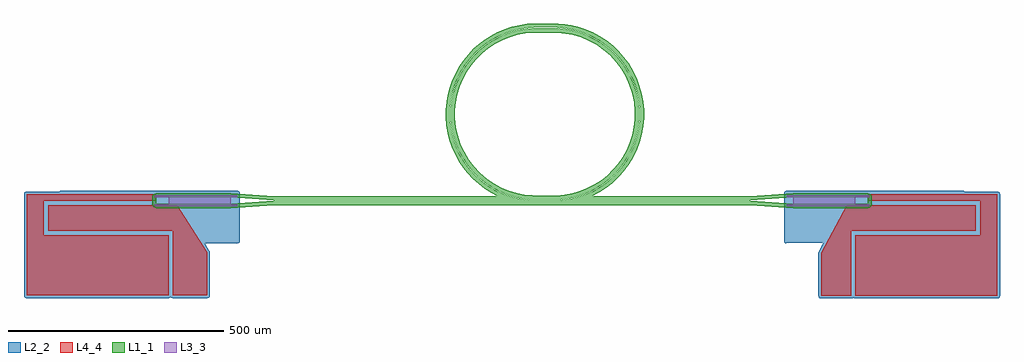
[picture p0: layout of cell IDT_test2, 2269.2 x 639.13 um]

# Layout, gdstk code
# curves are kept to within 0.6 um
import gdstk
lib = gdstk.Library(unit=1e-6, precision=1e-09)
def P(c, l, *ps):  # polygons
    for p in ps: c.add(gdstk.Polygon(p, *l))
L1_1 = (1, 1)
L2_2 = (2, 2)
L3_3 = (3, 3)
L4_4 = (4, 4)

idt_test2 = lib.new_cell('IDT_test2')
P(idt_test2, L1_1, [(-1552.58,-12.702),(-1557.944,-10.48),(-1561.169,-5.653),(-1561.552,13.23),(-1558.671,19.321),(-1555.427,21.489),(-1551.6,22.25),(-1378.8,22.25),(-1278.455,15.35),(-757.755,15.35),(-773.001,23.263),(-788.415,32.993),(-802.834,43.94),(-816.349,56.172),(-828.755,69.527),(-838.509,81.891),(-848.544,96.96),(-857.302,112.946),(-864.645,129.629),(-870.518,146.885),(-874.374,162.154),(-877.399,180.13),(-878.857,198.299),(-878.745,216.403),(-877.062,234.553),(-874.349,250.066),(-869.771,267.71),(-863.731,284.777),(-857.302,299.154),(-848.544,315.14),(-838.436,330.308),(-827.135,344.453),(-814.573,357.661),(-802.834,368.16),(-788.415,379.107),(-773.001,388.837),(-759.049,396.142),(-742.272,403.269),(-725,408.899),(-725,398.498),(-741.137,392.998),(-757.03,386.008),(-770.129,378.942),(-784.698,369.498),(-796.497,360.425),(-809.366,348.77),(-821.179,336.046),(-831.848,322.348),(-841.292,307.779),(-848.358,294.68),(-859.486,267.094),(-864.049,250.342),(-866.795,235.714),(-869,206.05),(-866.795,176.386),(-864.049,161.758),(-859.486,145.006),(-848.358,117.42),(-841.292,104.321),(-831.848,89.752),(-812.853,66.86),(-792.639,48.554),(-776.473,37.051),(-761.454,28.339),(-743.444,20.016),(-725,13.602),(-725,5.35),(-1278.8,5.35),(-1378.8,12.25),(-1551.6,12.25),(-1551.6,-2.75),(-1378.8,-2.75),(-1278.8,4.15),(-725,4.15),(-725,-5.85),(-1278.455,-5.85),(-1378.8,-12.75)],
  [(-707.309,413.024),(-689.266,415.614),(-671.067,416.633),(-618.047,416.395),(-602.48,415.049),(-571.739,408.885),(-554.412,403.225),(-537.639,396.089),(-521.547,387.529),(-506.254,377.609),(-489.997,364.785),(-476.789,352.223),(-464.64,338.469),(-453.803,323.813),(-443.082,306.098),(-435.125,289.698),(-428.577,272.555),(-423.012,252.61),(-419.755,234.676),(-418.061,216.527),(-417.947,198.176),(-419.738,177.547),(-423.012,159.49),(-427.807,141.904),(-435.076,122.515),(-443.023,106.111),(-452.427,90.352),(-464.64,73.631),(-476.789,59.877),(-491.877,45.695),(-506.254,34.491),(-521.653,24.508),(-539.045,15.35),(-171.545,15.35),(-71.2,22.25),(101.6,22.25),(105.427,21.489),(108.671,19.321),(110.839,16.077),(111.6,12.25),(111.6,-2.75),(110.839,-6.577),(107.156,-11.065),(101.6,-12.75),(-71.2,-12.75),(-171.545,-5.85),(-725,-5.85),(-725,4.15),(-171.2,4.15),(-71.2,-2.75),(101.6,-2.75),(101.6,12.25),(-71.2,12.25),(-171.2,5.35),(-725,5.35),(-725,13.602),(-702.962,8.45),(-678.32,5.695),(-623.438,5.511),(-598.736,7.655),(-579.282,11.556),(-557.981,18.216),(-539.77,26.092),(-520.327,37.051),(-500.303,51.675),(-483.947,66.86),(-467.879,85.745),(-454.263,106.467),(-443.308,128.711),(-435.862,149.751),(-430.8,171.488),(-428.045,196.13),(-428.183,218.448),(-431.242,243.054),(-437.314,267.094),(-446.304,290.202),(-458.077,312.024),(-472.452,332.227),(-489.21,350.503),(-506.118,365.071),(-528.817,380.187),(-551.061,391.142),(-574.487,399.269),(-598.736,404.445),(-623.438,406.589),(-678.32,406.405),(-702.962,403.65),(-725,398.498),(-725,408.899)],
  [(-867.739,201.118),(-867.053,223.292),(-864.378,242.832),(-859.786,262.012),(-852.385,282.926),(-842.706,302.889),(-832.287,319.634),(-818.655,337.137),(-804.971,351.339),(-787.986,365.611),(-771.638,376.644),(-754.281,386.008),(-733.759,394.434),(-712.427,400.529),(-693,403.927),(-675.797,405.313),(-648.401,405.45),(-648.401,395.271),(-675.426,395.319),(-694.089,393.7),(-712.501,390.244),(-730.481,384.986),(-747.854,377.979),(-764.449,369.289),(-780.105,359.002),(-794.668,347.219),(-807.996,334.055),(-819.959,319.638),(-830.438,304.111),(-839.333,287.624),(-846.555,270.339),(-852.034,252.425),(-855.717,234.058),(-857.568,215.417),(-857.568,196.683),(-855.357,175.727),(-851.447,157.407),(-844.91,137.374),(-836.189,118.191),(-825.39,100.096),(-812.649,83.312),(-799.818,69.663),(-783.854,55.908),(-768.457,45.237),(-749.974,35.117),(-732.689,27.895),(-712.501,21.856),(-696.408,18.733),(-677.767,16.882),(-648.401,16.829),(-648.401,6.65),(-675.797,6.787),(-693,8.173),(-712.427,11.571),(-731.424,16.872),(-749.804,24.023),(-769.52,34.192),(-786.003,45.022),(-801.335,57.428),(-815.367,71.287),(-827.961,86.464),(-840.258,104.93),(-849.406,122.401),(-857.578,143.026),(-862.879,162.023),(-866.277,181.45)],
  [(-628.4,405.45),(-608.702,404.475),(-589.197,401.558),(-570.075,396.729),(-549.254,389.07),(-531.561,380.356),(-512.798,368.52),(-497.313,356.305),(-483.111,342.621),(-470.331,327.6),(-459.096,311.39),(-449.518,294.15),(-441.69,276.048),(-435.688,257.261),(-431.192,235.537),(-429.244,215.911),(-429.244,196.189),(-431.192,176.563),(-435.07,157.226),(-440.839,138.366),(-448.442,120.169),(-457.806,102.812),(-468.839,86.464),(-483.111,69.479),(-497.313,55.795),(-512.798,43.58),(-531.561,31.744),(-549.254,23.03),(-567.721,16.107),(-586.782,11.042),(-606.249,7.884),(-623.468,6.711),(-648.401,6.65),(-648.401,16.829),(-621.374,16.781),(-602.711,18.4),(-584.299,21.856),(-568.537,26.359),(-551.079,33.152),(-534.377,41.636),(-518.595,51.728),(-503.887,63.33),(-490.398,76.329),(-478.258,90.596),(-467.587,105.993),(-458.489,122.368),(-451.054,139.562),(-445.353,157.407),(-441.443,175.727),(-439.362,194.345),(-439.131,213.076),(-441.083,234.058),(-445.353,254.693),(-451.89,274.726),(-460.611,293.909),(-471.41,312.004),(-482.644,326.994),(-496.982,342.437),(-512.946,356.192),(-528.343,366.863),(-546.826,376.983),(-564.111,384.205),(-584.299,390.244),(-600.392,393.367),(-619.033,395.218),(-648.401,395.271),(-648.401,405.45)])
P(idt_test2, L2_2, [(68.6,-219.815),(66.428,-221.792),(63.6,-222.5),(-6.4,-222.5),(-9.228,-221.792),(-11.389,-219.833),(-12.4,-216.5),(-12.371,-115.906),(-1.329,-94.5),(-86.4,-94.5),(-89.228,-93.792),(-91.389,-91.833),(-92.4,-88.5),(-92.4,21.5),(-91.692,24.328),(-89.733,26.489),(-86.4,27.5),(323.6,27.5),(328.063,25.5),(404.188,25.471),(408.589,22.833),(409.6,19.5),(409.6,-216.5),(408.892,-219.328),(406.933,-221.489),(403.6,-222.5),(73.6,-222.5),(70.772,-221.792)],
  [(-1778.063,25.5),(-1773.6,27.5),(-1361.858,27.242),(-1358.611,24.833),(-1357.6,21.5),(-1357.858,-90.242),(-1359.794,-93.138),(-1363.012,-94.471),(-1439.852,-94.5),(-1427.627,-114.934),(-1427.6,-215.5),(-1428.611,-218.833),(-1431.858,-221.242),(-1513.6,-221.5),(-1516.428,-220.792),(-1518.6,-218.815),(-1520.772,-220.792),(-1523.6,-221.5),(-1855.342,-221.242),(-1858.589,-218.833),(-1859.6,-215.5),(-1859.342,21.242),(-1857.406,24.138),(-1854.188,25.471)])
P(idt_test2, L3_3, [(-1498.6,-3),(-1498.6,11.75),(-1498.155,11.75),(-1498.155,-3),(-1496.8,-3),(-1496.8,11.75),(-1496.355,11.75),(-1496.355,-3),(-1495,-3),(-1495,11.75),(-1494.555,11.75),(-1494.555,-3),(-1493.2,-3),(-1493.2,11.75),(-1492.755,11.75),(-1492.755,-3),(-1491.4,-3),(-1491.4,11.75),(-1490.955,11.75),(-1490.955,-3),(-1489.6,-3),(-1489.6,11.75),(-1489.155,11.75),(-1489.155,-3),(-1487.8,-3),(-1487.8,11.75),(-1487.355,11.75),(-1487.355,-3),(-1486,-3),(-1486,11.75),(-1485.555,11.75),(-1485.555,-3),(-1484.2,-3),(-1484.2,11.75),(-1483.755,11.75),(-1483.755,-3),(-1482.4,-3),(-1482.4,11.75),(-1481.955,11.75),(-1481.955,-3),(-1480.6,-3),(-1480.6,11.75),(-1480.155,11.75),(-1480.155,-3),(-1478.8,-3),(-1478.8,11.75),(-1478.355,11.75),(-1478.355,-3),(-1477,-3),(-1477,11.75),(-1476.555,11.75),(-1476.555,-3),(-1475.2,-3),(-1475.2,11.75),(-1474.755,11.75),(-1474.755,-3),(-1473.4,-3),(-1473.4,11.75),(-1472.955,11.75),(-1472.955,-3),(-1471.6,-3),(-1471.6,11.75),(-1471.155,11.75),(-1471.155,-3),(-1469.8,-3),(-1469.8,11.75),(-1469.355,11.75),(-1469.355,-3),(-1468,-3),(-1468,11.75),(-1467.555,11.75),(-1467.555,-3),(-1466.2,-3),(-1466.2,11.75),(-1465.755,11.75),(-1465.755,-3),(-1464.4,-3),(-1464.4,11.75),(-1463.955,11.75),(-1463.955,-3),(-1462.6,-3),(-1462.6,11.75),(-1462.155,11.75),(-1462.155,-3),(-1460.8,-3),(-1460.8,11.75),(-1460.355,11.75),(-1460.355,-3),(-1459,-3),(-1459,11.75),(-1458.555,11.75),(-1458.555,-3),(-1457.2,-3),(-1457.2,11.75),(-1456.755,11.75),(-1456.755,-3),(-1455.4,-3),(-1455.4,11.75),(-1454.955,11.75),(-1454.955,-3),(-1453.6,-3),(-1453.6,11.75),(-1453.155,11.75),(-1453.155,-3),(-1451.8,-3),(-1451.8,11.75),(-1451.355,11.75),(-1451.355,-3),(-1450,-3),(-1450,11.75),(-1449.555,11.75),(-1449.555,-3),(-1448.2,-3),(-1448.2,11.75),(-1447.755,11.75),(-1447.755,-3),(-1446.4,-3),(-1446.4,11.75),(-1445.955,11.75),(-1445.955,-3),(-1444.6,-3),(-1444.6,11.75),(-1444.155,11.75),(-1444.155,-3),(-1442.8,-3),(-1442.8,11.75),(-1442.355,11.75),(-1442.355,-3),(-1441,-3),(-1441,11.75),(-1440.555,11.75),(-1440.555,-3),(-1439.2,-3),(-1439.2,11.75),(-1438.755,11.75),(-1438.755,-3),(-1437.4,-3),(-1437.4,11.75),(-1436.955,11.75),(-1436.955,-3),(-1435.6,-3),(-1435.6,11.75),(-1435.155,11.75),(-1435.155,-3),(-1433.8,-3),(-1433.8,11.75),(-1433.355,11.75),(-1433.355,-3),(-1432,-3),(-1432,11.75),(-1431.555,11.75),(-1431.555,-3),(-1430.2,-3),(-1430.2,11.75),(-1429.755,11.75),(-1429.755,-3),(-1428.4,-3),(-1428.4,11.75),(-1427.955,11.75),(-1427.955,-3),(-1426.6,-3),(-1426.6,11.75),(-1426.155,11.75),(-1426.155,-3),(-1424.8,-3),(-1424.8,11.75),(-1424.355,11.75),(-1424.355,-3),(-1423,-3),(-1423,11.75),(-1422.555,11.75),(-1422.555,-3),(-1421.2,-3),(-1421.2,11.75),(-1420.755,11.75),(-1420.755,-3),(-1419.4,-3),(-1419.4,11.75),(-1418.955,11.75),(-1418.955,-3),(-1417.6,-3),(-1417.6,11.75),(-1417.155,11.75),(-1417.155,-3),(-1415.8,-3),(-1415.8,11.75),(-1415.355,11.75),(-1415.355,-3),(-1414,-3),(-1414,11.75),(-1413.555,11.75),(-1413.555,-3),(-1412.2,-3),(-1412.2,11.75),(-1411.755,11.75),(-1411.755,-3),(-1410.4,-3),(-1410.4,11.75),(-1409.955,11.75),(-1409.955,-3),(-1408.6,-3),(-1408.6,11.75),(-1408.155,11.75),(-1408.155,-3),(-1406.8,-3),(-1406.8,11.75),(-1406.355,11.75),(-1406.355,-3),(-1405,-3),(-1405,11.75),(-1404.555,11.75),(-1404.555,-3),(-1403.2,-3),(-1403.2,11.75),(-1402.755,11.75),(-1402.755,-3),(-1401.4,-3),(-1401.4,11.75),(-1400.955,11.75),(-1400.955,-3),(-1399.6,-3),(-1399.6,11.75),(-1399.155,11.75),(-1399.155,-3),(-1397.8,-3),(-1397.8,11.75),(-1397.355,11.75),(-1397.355,-3),(-1396,-3),(-1396,11.75),(-1395.555,11.75),(-1395.555,-3),(-1394.2,-3),(-1394.2,11.75),(-1393.755,11.75),(-1393.755,-3),(-1392.4,-3),(-1392.4,11.75),(-1391.955,11.75),(-1391.955,-3),(-1390.6,-3),(-1390.6,11.75),(-1390.155,11.75),(-1390.155,-3),(-1388.8,-3),(-1388.8,11.75),(-1388.355,11.75),(-1388.355,-3),(-1387,-3),(-1387,11.75),(-1386.555,11.75),(-1386.555,-3),(-1385.2,-3),(-1385.2,11.75),(-1384.755,11.75),(-1384.755,-3),(-1383.4,-3),(-1383.4,11.75),(-1382.955,11.75),(-1382.955,-3),(-1381.6,-3),(-1381.6,11.75),(-1381.155,11.75),(-1381.155,-3),(-1379.8,-3),(-1379.8,11.75),(-1379.355,11.75),(-1379.355,-3),(-1363.6,-3),(-1363.6,-8),(-1555.6,-8),(-1555.6,-3),(-1522,-3),(-1522,11.75),(-1521.555,11.75),(-1521.555,-3),(-1520.2,-3),(-1520.2,11.75),(-1519.755,11.75),(-1519.755,-3),(-1518.4,-3),(-1518.4,11.75),(-1517.955,11.75),(-1517.955,-3),(-1516.6,-3),(-1516.6,11.75),(-1516.155,11.75),(-1516.155,-3),(-1514.8,-3),(-1514.8,11.75),(-1514.355,11.75),(-1514.355,-3),(-1513,-3),(-1513,11.75),(-1512.555,11.75),(-1512.555,-3),(-1511.2,-3),(-1511.2,11.75),(-1510.755,11.75),(-1510.755,-3),(-1509.4,-3),(-1509.4,11.75),(-1508.955,11.75),(-1508.955,-3),(-1507.6,-3),(-1507.6,11.75),(-1507.155,11.75),(-1507.155,-3),(-1505.8,-3),(-1505.8,11.75),(-1505.355,11.75),(-1505.355,-3),(-1504,-3),(-1504,11.75),(-1503.555,11.75),(-1503.555,-3),(-1502.2,-3),(-1502.2,11.75),(-1501.755,11.75),(-1501.755,-3),(-1500.4,-3),(-1500.4,11.75),(-1499.955,11.75),(-1499.955,-3),(-1498.6,-3)],
  [(-68.845,11.75),(-68.4,11.75),(-68.4,-3),(-67.045,-3),(-67.045,11.75),(-66.6,11.75),(-66.6,-3),(-65.245,-3),(-65.245,11.75),(-64.8,11.75),(-64.8,-3),(-63.445,-3),(-63.445,11.75),(-63,11.75),(-63,-3),(-61.645,-3),(-61.645,11.75),(-61.2,11.75),(-61.2,-3),(-59.845,-3),(-59.845,11.75),(-59.4,11.75),(-59.4,-3),(-58.045,-3),(-58.045,11.75),(-57.6,11.75),(-57.6,-3),(-56.245,-3),(-56.245,11.75),(-55.8,11.75),(-55.8,-3),(-54.445,-3),(-54.445,11.75),(-54,11.75),(-54,-3),(-52.645,-3),(-52.645,11.75),(-52.2,11.75),(-52.2,-3),(-50.845,-3),(-50.845,11.75),(-50.4,11.75),(-50.4,-3),(-49.045,-3),(-49.045,11.75),(-48.6,11.75),(-48.6,-3),(-47.245,-3),(-47.245,11.75),(-46.8,11.75),(-46.8,-3),(-45.445,-3),(-45.445,11.75),(-45,11.75),(-45,-3),(-43.645,-3),(-43.645,11.75),(-43.2,11.75),(-43.2,-3),(-41.845,-3),(-41.845,11.75),(-41.4,11.75),(-41.4,-3),(-40.045,-3),(-40.045,11.75),(-39.6,11.75),(-39.6,-3),(-38.245,-3),(-38.245,11.75),(-37.8,11.75),(-37.8,-3),(-36.445,-3),(-36.445,11.75),(-36,11.75),(-36,-3),(-34.645,-3),(-34.645,11.75),(-34.2,11.75),(-34.2,-3),(-32.845,-3),(-32.845,11.75),(-32.4,11.75),(-32.4,-3),(-31.045,-3),(-31.045,11.75),(-30.6,11.75),(-30.6,-3),(-29.245,-3),(-29.245,11.75),(-28.8,11.75),(-28.8,-3),(-27.445,-3),(-27.445,11.75),(-27,11.75),(-27,-3),(-25.645,-3),(-25.645,11.75),(-25.2,11.75),(-25.2,-3),(-23.845,-3),(-23.845,11.75),(-23.4,11.75),(-23.4,-3),(-22.045,-3),(-22.045,11.75),(-21.6,11.75),(-21.6,-3),(-20.245,-3),(-20.245,11.75),(-19.8,11.75),(-19.8,-3),(-18.445,-3),(-18.445,11.75),(-18,11.75),(-18,-3),(-16.645,-3),(-16.645,11.75),(-16.2,11.75),(-16.2,-3),(-14.845,-3),(-14.845,11.75),(-14.4,11.75),(-14.4,-3),(-13.045,-3),(-13.045,11.75),(-12.6,11.75),(-12.6,-3),(-11.245,-3),(-11.245,11.75),(-10.8,11.75),(-10.8,-3),(-9.445,-3),(-9.445,11.75),(-9,11.75),(-9,-3),(-7.645,-3),(-7.645,11.75),(-7.2,11.75),(-7.2,-3),(-5.845,-3),(-5.845,11.75),(-5.4,11.75),(-5.4,-3),(-4.045,-3),(-4.045,11.75),(-3.6,11.75),(-3.6,-3),(-2.245,-3),(-2.245,11.75),(-1.8,11.75),(-1.8,-3),(-0.445,-3),(-0.445,11.75),(0,11.75),(0,-3),(1.355,-3),(1.355,11.75),(1.8,11.75),(1.8,-3),(3.155,-3),(3.155,11.75),(3.6,11.75),(3.6,-3),(4.955,-3),(4.955,11.75),(5.4,11.75),(5.4,-3),(6.755,-3),(6.755,11.75),(7.2,11.75),(7.2,-3),(8.555,-3),(8.555,11.75),(9,11.75),(9,-3),(10.355,-3),(10.355,11.75),(10.8,11.75),(10.8,-3),(12.155,-3),(12.155,11.75),(12.6,11.75),(12.6,-3),(13.955,-3),(13.955,11.75),(14.4,11.75),(14.4,-3),(15.755,-3),(15.755,11.75),(16.2,11.75),(16.2,-3),(17.555,-3),(17.555,11.75),(18,11.75),(18,-3),(19.355,-3),(19.355,11.75),(19.8,11.75),(19.8,-3),(21.155,-3),(21.155,11.75),(21.6,11.75),(21.6,-3),(22.955,-3),(22.955,11.75),(23.4,11.75),(23.4,-3),(24.755,-3),(24.755,11.75),(25.2,11.75),(25.2,-3),(26.555,-3),(26.555,11.75),(27,11.75),(27,-3),(28.355,-3),(28.355,11.75),(28.8,11.75),(28.8,-3),(30.155,-3),(30.155,11.75),(30.6,11.75),(30.6,-3),(31.955,-3),(31.955,11.75),(32.4,11.75),(32.4,-3),(33.755,-3),(33.755,11.75),(34.2,11.75),(34.2,-3),(35.555,-3),(35.555,11.75),(36,11.75),(36,-3),(37.355,-3),(37.355,11.75),(37.8,11.75),(37.8,-3),(39.155,-3),(39.155,11.75),(39.6,11.75),(39.6,-3),(40.955,-3),(40.955,11.75),(41.4,11.75),(41.4,-3),(42.755,-3),(42.755,11.75),(43.2,11.75),(43.2,-3),(44.555,-3),(44.555,11.75),(45,11.75),(45,-3),(46.355,-3),(46.355,11.75),(46.8,11.75),(46.8,-3),(48.155,-3),(48.155,11.75),(48.6,11.75),(48.6,-3),(49.955,-3),(49.955,11.75),(50.4,11.75),(50.4,-3),(51.755,-3),(51.755,11.75),(52.2,11.75),(52.2,-3),(53.555,-3),(53.555,11.75),(54,11.75),(54,-3),(55.355,-3),(55.355,11.75),(55.8,11.75),(55.8,-3),(57.155,-3),(57.155,11.75),(57.6,11.75),(57.6,-3),(58.955,-3),(58.955,11.75),(59.4,11.75),(59.4,-3),(60.755,-3),(60.755,11.75),(61.2,11.75),(61.2,-3),(62.555,-3),(62.555,11.75),(63,11.75),(63,-3),(64.355,-3),(64.355,11.75),(64.8,11.75),(64.8,-3),(66.155,-3),(66.155,11.75),(66.6,11.75),(66.6,-3),(67.955,-3),(67.955,11.75),(68.4,11.75),(68.4,-3),(69.755,-3),(69.755,11.75),(70.2,11.75),(70.2,-3),(71.555,-3),(71.555,11.75),(72,11.75),(72,-3),(105.6,-3),(105.6,-8),(-86.4,-8),(-86.4,-3),(-70.645,-3),(-70.645,11.75),(-70.2,11.75),(-70.2,-3),(-68.845,-3),(-68.845,11.75)],
  [(-1495.455,-2.25),(-1495.9,-2.25),(-1495.9,12.5),(-1497.255,12.5),(-1497.255,-2.25),(-1497.7,-2.25),(-1497.7,12.5),(-1499.055,12.5),(-1499.055,-2.25),(-1499.5,-2.25),(-1499.5,12.5),(-1500.855,12.5),(-1500.855,-2.25),(-1501.3,-2.25),(-1501.3,12.5),(-1502.655,12.5),(-1502.655,-2.25),(-1503.1,-2.25),(-1503.1,12.5),(-1504.455,12.5),(-1504.455,-2.25),(-1504.9,-2.25),(-1504.9,12.5),(-1506.255,12.5),(-1506.255,-2.25),(-1506.7,-2.25),(-1506.7,12.5),(-1508.055,12.5),(-1508.055,-2.25),(-1508.5,-2.25),(-1508.5,12.5),(-1509.855,12.5),(-1509.855,-2.25),(-1510.3,-2.25),(-1510.3,12.5),(-1511.655,12.5),(-1511.655,-2.25),(-1512.1,-2.25),(-1512.1,12.5),(-1513.455,12.5),(-1513.455,-2.25),(-1513.9,-2.25),(-1513.9,12.5),(-1515.255,12.5),(-1515.255,-2.25),(-1515.7,-2.25),(-1515.7,12.5),(-1517.055,12.5),(-1517.055,-2.25),(-1517.5,-2.25),(-1517.5,12.5),(-1518.855,12.5),(-1518.855,-2.25),(-1519.3,-2.25),(-1519.3,12.5),(-1520.655,12.5),(-1520.655,-2.25),(-1521.1,-2.25),(-1521.1,12.5),(-1522.455,12.5),(-1522.455,-2.25),(-1522.9,-2.25),(-1522.9,12.5),(-1555.6,12.5),(-1555.6,17.5),(-1363.6,17.5),(-1363.6,12.5),(-1380.255,12.5),(-1380.255,-2.25),(-1380.7,-2.25),(-1380.7,12.5),(-1382.055,12.5),(-1382.055,-2.25),(-1382.5,-2.25),(-1382.5,12.5),(-1383.855,12.5),(-1383.855,-2.25),(-1384.3,-2.25),(-1384.3,12.5),(-1385.655,12.5),(-1385.655,-2.25),(-1386.1,-2.25),(-1386.1,12.5),(-1387.455,12.5),(-1387.455,-2.25),(-1387.9,-2.25),(-1387.9,12.5),(-1389.255,12.5),(-1389.255,-2.25),(-1389.7,-2.25),(-1389.7,12.5),(-1391.055,12.5),(-1391.055,-2.25),(-1391.5,-2.25),(-1391.5,12.5),(-1392.855,12.5),(-1392.855,-2.25),(-1393.3,-2.25),(-1393.3,12.5),(-1394.655,12.5),(-1394.655,-2.25),(-1395.1,-2.25),(-1395.1,12.5),(-1396.455,12.5),(-1396.455,-2.25),(-1396.9,-2.25),(-1396.9,12.5),(-1398.255,12.5),(-1398.255,-2.25),(-1398.7,-2.25),(-1398.7,12.5),(-1400.055,12.5),(-1400.055,-2.25),(-1400.5,-2.25),(-1400.5,12.5),(-1401.855,12.5),(-1401.855,-2.25),(-1402.3,-2.25),(-1402.3,12.5),(-1403.655,12.5),(-1403.655,-2.25),(-1404.1,-2.25),(-1404.1,12.5),(-1405.455,12.5),(-1405.455,-2.25),(-1405.9,-2.25),(-1405.9,12.5),(-1407.255,12.5),(-1407.255,-2.25),(-1407.7,-2.25),(-1407.7,12.5),(-1409.055,12.5),(-1409.055,-2.25),(-1409.5,-2.25),(-1409.5,12.5),(-1410.855,12.5),(-1410.855,-2.25),(-1411.3,-2.25),(-1411.3,12.5),(-1412.655,12.5),(-1412.655,-2.25),(-1413.1,-2.25),(-1413.1,12.5),(-1414.455,12.5),(-1414.455,-2.25),(-1414.9,-2.25),(-1414.9,12.5),(-1416.255,12.5),(-1416.255,-2.25),(-1416.7,-2.25),(-1416.7,12.5),(-1418.055,12.5),(-1418.055,-2.25),(-1418.5,-2.25),(-1418.5,12.5),(-1419.855,12.5),(-1419.855,-2.25),(-1420.3,-2.25),(-1420.3,12.5),(-1421.655,12.5),(-1421.655,-2.25),(-1422.1,-2.25),(-1422.1,12.5),(-1423.455,12.5),(-1423.455,-2.25),(-1423.9,-2.25),(-1423.9,12.5),(-1425.255,12.5),(-1425.255,-2.25),(-1425.7,-2.25),(-1425.7,12.5),(-1427.055,12.5),(-1427.055,-2.25),(-1427.5,-2.25),(-1427.5,12.5),(-1428.855,12.5),(-1428.855,-2.25),(-1429.3,-2.25),(-1429.3,12.5),(-1430.655,12.5),(-1430.655,-2.25),(-1431.1,-2.25),(-1431.1,12.5),(-1432.455,12.5),(-1432.455,-2.25),(-1432.9,-2.25),(-1432.9,12.5),(-1434.255,12.5),(-1434.255,-2.25),(-1434.7,-2.25),(-1434.7,12.5),(-1436.055,12.5),(-1436.055,-2.25),(-1436.5,-2.25),(-1436.5,12.5),(-1437.855,12.5),(-1437.855,-2.25),(-1438.3,-2.25),(-1438.3,12.5),(-1439.655,12.5),(-1439.655,-2.25),(-1440.1,-2.25),(-1440.1,12.5),(-1441.455,12.5),(-1441.455,-2.25),(-1441.9,-2.25),(-1441.9,12.5),(-1443.255,12.5),(-1443.255,-2.25),(-1443.7,-2.25),(-1443.7,12.5),(-1445.055,12.5),(-1445.055,-2.25),(-1445.5,-2.25),(-1445.5,12.5),(-1446.855,12.5),(-1446.855,-2.25),(-1447.3,-2.25),(-1447.3,12.5),(-1448.655,12.5),(-1448.655,-2.25),(-1449.1,-2.25),(-1449.1,12.5),(-1450.455,12.5),(-1450.455,-2.25),(-1450.9,-2.25),(-1450.9,12.5),(-1452.255,12.5),(-1452.255,-2.25),(-1452.7,-2.25),(-1452.7,12.5),(-1454.055,12.5),(-1454.055,-2.25),(-1454.5,-2.25),(-1454.5,12.5),(-1455.855,12.5),(-1455.855,-2.25),(-1456.3,-2.25),(-1456.3,12.5),(-1457.655,12.5),(-1457.655,-2.25),(-1458.1,-2.25),(-1458.1,12.5),(-1459.455,12.5),(-1459.455,-2.25),(-1459.9,-2.25),(-1459.9,12.5),(-1461.255,12.5),(-1461.255,-2.25),(-1461.7,-2.25),(-1461.7,12.5),(-1463.055,12.5),(-1463.055,-2.25),(-1463.5,-2.25),(-1463.5,12.5),(-1464.855,12.5),(-1464.855,-2.25),(-1465.3,-2.25),(-1465.3,12.5),(-1466.655,12.5),(-1466.655,-2.25),(-1467.1,-2.25),(-1467.1,12.5),(-1468.455,12.5),(-1468.455,-2.25),(-1468.9,-2.25),(-1468.9,12.5),(-1470.255,12.5),(-1470.255,-2.25),(-1470.7,-2.25),(-1470.7,12.5),(-1472.055,12.5),(-1472.055,-2.25),(-1472.5,-2.25),(-1472.5,12.5),(-1473.855,12.5),(-1473.855,-2.25),(-1474.3,-2.25),(-1474.3,12.5),(-1475.655,12.5),(-1475.655,-2.25),(-1476.1,-2.25),(-1476.1,12.5),(-1477.455,12.5),(-1477.455,-2.25),(-1477.9,-2.25),(-1477.9,12.5),(-1479.255,12.5),(-1479.255,-2.25),(-1479.7,-2.25),(-1479.7,12.5),(-1481.055,12.5),(-1481.055,-2.25),(-1481.5,-2.25),(-1481.5,12.5),(-1482.855,12.5),(-1482.855,-2.25),(-1483.3,-2.25),(-1483.3,12.5),(-1484.655,12.5),(-1484.655,-2.25),(-1485.1,-2.25),(-1485.1,12.5),(-1486.455,12.5),(-1486.455,-2.25),(-1486.9,-2.25),(-1486.9,12.5),(-1488.255,12.5),(-1488.255,-2.25),(-1488.7,-2.25),(-1488.7,12.5),(-1490.055,12.5),(-1490.055,-2.25),(-1490.5,-2.25),(-1490.5,12.5),(-1491.855,12.5),(-1491.855,-2.25),(-1492.3,-2.25),(-1492.3,12.5),(-1493.655,12.5),(-1493.655,-2.25),(-1494.1,-2.25),(-1494.1,12.5),(-1495.455,12.5),(-1495.455,-2.25)],
  [(-56.7,12.5),(-56.7,-2.25),(-57.145,-2.25),(-57.145,12.5),(-58.5,12.5),(-58.5,-2.25),(-58.945,-2.25),(-58.945,12.5),(-60.3,12.5),(-60.3,-2.25),(-60.745,-2.25),(-60.745,12.5),(-62.1,12.5),(-62.1,-2.25),(-62.545,-2.25),(-62.545,12.5),(-63.9,12.5),(-63.9,-2.25),(-64.345,-2.25),(-64.345,12.5),(-65.7,12.5),(-65.7,-2.25),(-66.145,-2.25),(-66.145,12.5),(-67.5,12.5),(-67.5,-2.25),(-67.945,-2.25),(-67.945,12.5),(-69.3,12.5),(-69.3,-2.25),(-69.745,-2.25),(-69.745,12.5),(-86.4,12.5),(-86.4,17.5),(105.6,17.5),(105.6,12.5),(72.9,12.5),(72.9,-2.25),(72.455,-2.25),(72.455,12.5),(71.1,12.5),(71.1,-2.25),(70.655,-2.25),(70.655,12.5),(69.3,12.5),(69.3,-2.25),(68.855,-2.25),(68.855,12.5),(67.5,12.5),(67.5,-2.25),(67.055,-2.25),(67.055,12.5),(65.7,12.5),(65.7,-2.25),(65.255,-2.25),(65.255,12.5),(63.9,12.5),(63.9,-2.25),(63.455,-2.25),(63.455,12.5),(62.1,12.5),(62.1,-2.25),(61.655,-2.25),(61.655,12.5),(60.3,12.5),(60.3,-2.25),(59.855,-2.25),(59.855,12.5),(58.5,12.5),(58.5,-2.25),(58.055,-2.25),(58.055,12.5),(56.7,12.5),(56.7,-2.25),(56.255,-2.25),(56.255,12.5),(54.9,12.5),(54.9,-2.25),(54.455,-2.25),(54.455,12.5),(53.1,12.5),(53.1,-2.25),(52.655,-2.25),(52.655,12.5),(51.3,12.5),(51.3,-2.25),(50.855,-2.25),(50.855,12.5),(49.5,12.5),(49.5,-2.25),(49.055,-2.25),(49.055,12.5),(47.7,12.5),(47.7,-2.25),(47.255,-2.25),(47.255,12.5),(45.9,12.5),(45.9,-2.25),(45.455,-2.25),(45.455,12.5),(44.1,12.5),(44.1,-2.25),(43.655,-2.25),(43.655,12.5),(42.3,12.5),(42.3,-2.25),(41.855,-2.25),(41.855,12.5),(40.5,12.5),(40.5,-2.25),(40.055,-2.25),(40.055,12.5),(38.7,12.5),(38.7,-2.25),(38.255,-2.25),(38.255,12.5),(36.9,12.5),(36.9,-2.25),(36.455,-2.25),(36.455,12.5),(35.1,12.5),(35.1,-2.25),(34.655,-2.25),(34.655,12.5),(33.3,12.5),(33.3,-2.25),(32.855,-2.25),(32.855,12.5),(31.5,12.5),(31.5,-2.25),(31.055,-2.25),(31.055,12.5),(29.7,12.5),(29.7,-2.25),(29.255,-2.25),(29.255,12.5),(27.9,12.5),(27.9,-2.25),(27.455,-2.25),(27.455,12.5),(26.1,12.5),(26.1,-2.25),(25.655,-2.25),(25.655,12.5),(24.3,12.5),(24.3,-2.25),(23.855,-2.25),(23.855,12.5),(22.5,12.5),(22.5,-2.25),(22.055,-2.25),(22.055,12.5),(20.7,12.5),(20.7,-2.25),(20.255,-2.25),(20.255,12.5),(18.9,12.5),(18.9,-2.25),(18.455,-2.25),(18.455,12.5),(17.1,12.5),(17.1,-2.25),(16.655,-2.25),(16.655,12.5),(15.3,12.5),(15.3,-2.25),(14.855,-2.25),(14.855,12.5),(13.5,12.5),(13.5,-2.25),(13.055,-2.25),(13.055,12.5),(11.7,12.5),(11.7,-2.25),(11.255,-2.25),(11.255,12.5),(9.9,12.5),(9.9,-2.25),(9.455,-2.25),(9.455,12.5),(8.1,12.5),(8.1,-2.25),(7.655,-2.25),(7.655,12.5),(6.3,12.5),(6.3,-2.25),(5.855,-2.25),(5.855,12.5),(4.5,12.5),(4.5,-2.25),(4.055,-2.25),(4.055,12.5),(2.7,12.5),(2.7,-2.25),(2.255,-2.25),(2.255,12.5),(0.9,12.5),(0.9,-2.25),(0.455,-2.25),(0.455,12.5),(-0.9,12.5),(-0.9,-2.25),(-1.345,-2.25),(-1.345,12.5),(-2.7,12.5),(-2.7,-2.25),(-3.145,-2.25),(-3.145,12.5),(-4.5,12.5),(-4.5,-2.25),(-4.945,-2.25),(-4.945,12.5),(-6.3,12.5),(-6.3,-2.25),(-6.745,-2.25),(-6.745,12.5),(-8.1,12.5),(-8.1,-2.25),(-8.545,-2.25),(-8.545,12.5),(-9.9,12.5),(-9.9,-2.25),(-10.345,-2.25),(-10.345,12.5),(-11.7,12.5),(-11.7,-2.25),(-12.145,-2.25),(-12.145,12.5),(-13.5,12.5),(-13.5,-2.25),(-13.945,-2.25),(-13.945,12.5),(-15.3,12.5),(-15.3,-2.25),(-15.745,-2.25),(-15.745,12.5),(-17.1,12.5),(-17.1,-2.25),(-17.545,-2.25),(-17.545,12.5),(-18.9,12.5),(-18.9,-2.25),(-19.345,-2.25),(-19.345,12.5),(-20.7,12.5),(-20.7,-2.25),(-21.145,-2.25),(-21.145,12.5),(-22.5,12.5),(-22.5,-2.25),(-22.945,-2.25),(-22.945,12.5),(-24.3,12.5),(-24.3,-2.25),(-24.745,-2.25),(-24.745,12.5),(-26.1,12.5),(-26.1,-2.25),(-26.545,-2.25),(-26.545,12.5),(-27.9,12.5),(-27.9,-2.25),(-28.345,-2.25),(-28.345,12.5),(-29.7,12.5),(-29.7,-2.25),(-30.145,-2.25),(-30.145,12.5),(-31.5,12.5),(-31.5,-2.25),(-31.945,-2.25),(-31.945,12.5),(-33.3,12.5),(-33.3,-2.25),(-33.745,-2.25),(-33.745,12.5),(-35.1,12.5),(-35.1,-2.25),(-35.545,-2.25),(-35.545,12.5),(-36.9,12.5),(-36.9,-2.25),(-37.345,-2.25),(-37.345,12.5),(-38.7,12.5),(-38.7,-2.25),(-39.145,-2.25),(-39.145,12.5),(-40.5,12.5),(-40.5,-2.25),(-40.945,-2.25),(-40.945,12.5),(-42.3,12.5),(-42.3,-2.25),(-42.745,-2.25),(-42.745,12.5),(-44.1,12.5),(-44.1,-2.25),(-44.545,-2.25),(-44.545,12.5),(-45.9,12.5),(-45.9,-2.25),(-46.345,-2.25),(-46.345,12.5),(-47.7,12.5),(-47.7,-2.25),(-48.145,-2.25),(-48.145,12.5),(-49.5,12.5),(-49.5,-2.25),(-49.945,-2.25),(-49.945,12.5),(-51.3,12.5),(-51.3,-2.25),(-51.745,-2.25),(-51.745,12.5),(-53.1,12.5),(-53.1,-2.25),(-53.545,-2.25),(-53.545,12.5),(-54.9,12.5),(-54.9,-2.25),(-55.345,-2.25),(-55.345,12.5),(-56.7,12.5)])
P(idt_test2, L4_4, [(63.6,-65.5),(63.6,-216.5),(-6.4,-216.5),(-6.4,-116.5),(53.6,-5.5),(353.6,-5.5),(353.6,-65.5),(63.6,-65.5)],
  [(-1513.6,-215.5),(-1513.6,-65.5),(-1803.6,-65.5),(-1803.6,-5.5),(-1503.6,-5.5),(-1433.6,-115.5),(-1433.6,-215.5),(-1513.6,-215.5)],
  [(73.6,-216.5),(73.6,-75.5),(363.6,-75.5),(363.6,4.5),(101.6,4.5),(101.6,19.5),(403.6,19.5),(403.6,-216.5),(73.6,-216.5)],
  [(-1813.6,-75.5),(-1523.6,-75.5),(-1523.6,-215.5),(-1853.6,-215.5),(-1853.6,19.5),(-1551.6,19.5),(-1551.6,4.5),(-1813.6,4.5),(-1813.6,-75.5)])

lib.write_gds('IDT_test2.gds')
